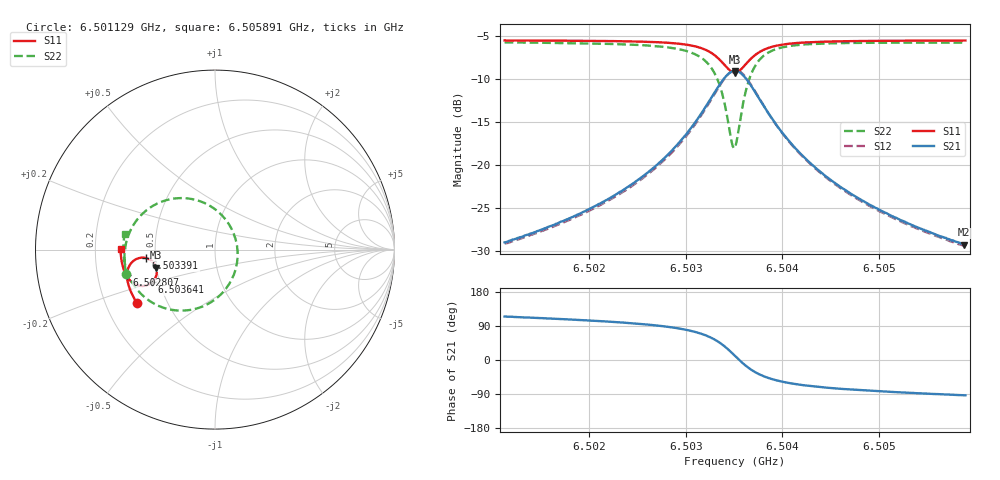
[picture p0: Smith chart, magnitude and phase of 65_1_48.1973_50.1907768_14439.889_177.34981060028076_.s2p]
#  HZ  S  RI  R  50.00
! Rohde & Schwarz Vector Network Analyzer
! Rohde-Schwarz,ZNB20-2Port,1311601062101988,3.16
! Created: UTC 3/20/2024, 11:38:56 AM
! freq[Hz]  re:S11  im:S11  re:S21  im:S21  re:S12  im:S12  re:S22  im:S22
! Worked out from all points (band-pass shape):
!   401 points, 6.501129 GHz to 6.505891 GHz, reference 50 ohm
!   highest |S21| = -9.11 dB at 6.50351 GHz (marker M1); lowest = -29.3 dB at 6.505879 GHz (marker M2)
!   |S21| within 3 dB of the highest: 6.503271 GHz to 6.503748 GHz (476.1 kHz wide, 0.00732 % of centre)
!   lowest |S11| = -9.3 dB at 6.50351 GHz (marker M3), VSWR 2.04, Z = 24.9 - j5.71 ohm
!   |S11| at or under -10 dB: nowhere
!   |S22| runs from -18.1 to -5.8 dB; largest |S21 - S12| = 0.012
!   S11 on the Smith chart (normalised r, x): 6.501129 GHz: 0.34, -0.28; 6.502807 GHz: 0.33, -0.13; 6.503391 GHz: 0.44, -0.05; 6.503641 GHz: 0.46, -0.20; 6.505891 GHz: 0.31, +0.00
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6.5011287e9  -0.4343 -0.2976  -0.0148 0.0322  -0.013 0.0323  -0.4945 -0.1369
6.5019264e9  -0.4673 -0.237  -0.0138 0.0508  -0.0114 0.0502  -0.5045 -0.0486
6.5023551e9  -0.4818 -0.1978  -0.0108 0.0705  -0.00763 0.0692  -0.4998 0.0152
6.5027241e9  -0.4898 -0.1554  -0.00063 0.1024  0.00308 0.0996  -0.4771 0.0938
6.5028075e9  -0.4901 -0.1436  0.00443 0.113  0.00807 0.1099  -0.4661 0.1169
6.5030099e9  -0.4853 -0.1095  0.0278 0.1486  0.0315 0.144  -0.417 0.1864
6.5031527e9  -0.4704 -0.0793  0.0667 0.1831  0.0694 0.1772  -0.3415 0.2463
6.5032956e9  -0.431 -0.0496  0.1514 0.2124  0.152 0.206  -0.1867 0.287
6.5033909e9  -0.3827 -0.0474  0.2459 0.1944  0.246 0.1898  -0.0228 0.2406
6.5034742e9  -0.3385 -0.0783  0.3263 0.1165  0.329 0.1123  0.1052 0.0867
6.5035099e9  -0.3274 -0.1012  0.3441 0.0658  0.348 0.0604  0.1257 -0.00883
6.5035337e9  -0.3245 -0.1181  0.3474 0.03  0.3516 0.0231  0.1226 -0.0747
6.5035694e9  -0.3269 -0.1431  0.3393 -0.0218  0.343 -0.0309  0.0932 -0.1666
6.5036409e9  -0.3499 -0.1814  0.2903 -0.1001  0.2901 -0.1121  -0.0223 -0.2929
6.5037361e9  -0.3922 -0.2018  0.2093 -0.144  0.2042 -0.1546  -0.1877 -0.3399
6.5038909e9  -0.4427 -0.1943  0.1185 -0.1428  0.111 -0.1485  -0.3526 -0.2936
6.5040695e9  -0.474 -0.1716  0.0668 -0.1196  0.0603 -0.1218  -0.4361 -0.2198
6.5043076e9  -0.4952 -0.1419  0.0355 -0.0932  0.0304 -0.0939  -0.4811 -0.1447
6.5046648e9  -0.511 -0.1032  0.0156 -0.0687  0.012 -0.0681  -0.5042 -0.0681
6.5051053e9  -0.5207 -0.0616  0.00549 -0.051  0.00299 -0.0502  -0.5108 -0.0023
6.5058792e9  -0.526 0.00475  -0.00189 -0.0343  -0.00327 -0.0336  -0.504 0.083
6.5058911e9  -0.5261 0.00579  -0.00187 -0.0343  -0.00331 -0.0335  -0.5038 0.0842
